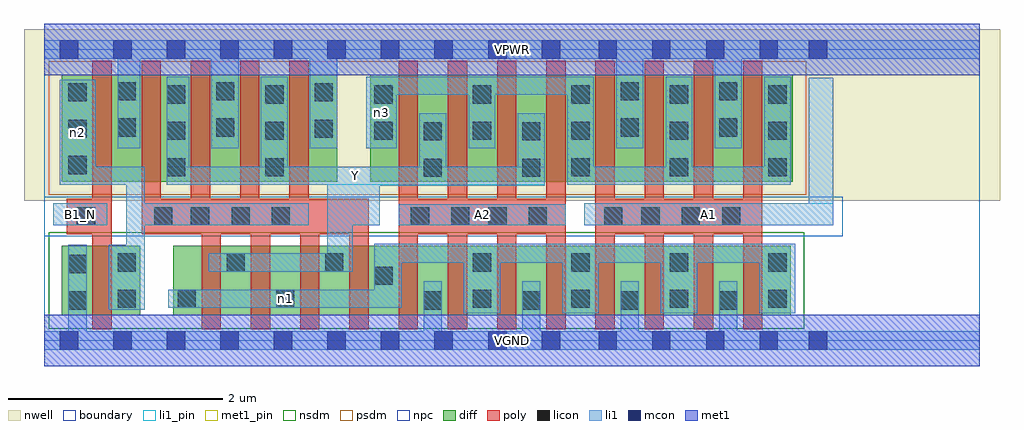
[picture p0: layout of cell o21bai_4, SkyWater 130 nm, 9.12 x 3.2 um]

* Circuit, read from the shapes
.subckt o21bai_4 A1 A2 B1_N VGND VPWR Y n1 n2 n3
XM1 n2 B1_N VGND VSUBS sky130_fd_pr__nfet_01v8 w=0.65 l=0.18
XM2 Y n2 n1 VSUBS sky130_fd_pr__nfet_01v8 w=0.65 l=0.18 m=4
XM3 VGND A2 n1 VSUBS sky130_fd_pr__nfet_01v8 w=0.65 l=0.18 m=4
XM4 VGND A1 n1 VSUBS sky130_fd_pr__nfet_01v8 w=0.65 l=0.18 m=4
XM5 VPWR B1_N n2 n4 sky130_fd_pr__pfet_01v8 w=1 l=0.18
XM6 Y n2 VPWR n4 sky130_fd_pr__pfet_01v8 w=1 l=0.18 m=4
XM7 Y A2 n3 n4 sky130_fd_pr__pfet_01v8 w=1 l=0.18 m=4
XM8 VPWR A1 n3 n4 sky130_fd_pr__pfet_01v8 w=1 l=0.18 m=4
.ends

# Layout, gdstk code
import gdstk
lib = gdstk.Library(unit=1e-6, precision=1e-09)
def R(c, l, rs):  # rectangles x0, y0, x1, y1
    for r in rs: c.add(gdstk.rectangle(r[:2], r[2:], *l))
def A(c, l, x, y, w, h, nx, ny, dx, dy):  # array of equal rectangles
    R(c, l, [(x+i*dx, y+j*dy, x+i*dx+w, y+j*dy+h) for i in range(nx) for j in range(ny)])
nwell = (64, 20)
diff = (65, 20)
poly = (66, 20)
licon = (66, 44)
li1_pin = (67, 16)
li1 = (67, 20)
mcon = (67, 44)
met1_pin = (68, 16)
met1 = (68, 20)
nsdm = (93, 44)
psdm = (94, 20)
npc = (95, 20)
boundary = (235, 4)

o21bai_4 = lib.new_cell('o21bai_4')
R(o21bai_4, nwell, [(-0.19,1.305,8.93,2.91), (0,1.305,8.74,2.91)])
R(o21bai_4, diff, [(0.165,0.235,0.895,0.885), (1.205,0.235,6.975,0.885), (0.165,1.485,2.735,2.485), (3.045,1.485,6.995,2.485)])
A(o21bai_4, poly, 1.47, 0.105, 0.18, 1.22, 4, 1, 0.46, 0)
A(o21bai_4, poly, 3.31, 0.105, 0.18, 2.51, 8, 1, 0.46, 0)
A(o21bai_4, poly, 0.91, 0.995, 0.18, 1.62, 4, 1, 0.46, 0)
R(o21bai_4, poly, [(0.45,0.105,0.63,2.615), (0.21,0.995,0.63,1.325), (0.91,0.995,3.03,1.325), (3.31,0.995,4.87,1.325), (5.15,0.995,6.71,1.325)])
A(o21bai_4, licon, 3.545, 0.29, 0.17, 0.17, 4, 1, 0.92, 0)
A(o21bai_4, licon, 4.005, 0.305, 0.17, 0.17, 4, 2, 0.92, 0.34)
A(o21bai_4, licon, 1.145, 1.535, 0.17, 0.17, 1, 3, 0, 0.34)
A(o21bai_4, licon, 2.065, 1.535, 0.17, 0.17, 1, 3, 0, 0.34)
A(o21bai_4, licon, 4.925, 1.535, 0.17, 0.17, 3, 1, 0.92, 0)
A(o21bai_4, licon, 0.225, 1.555, 0.17, 0.17, 1, 3, 0, 0.34)
A(o21bai_4, licon, 3.085, 1.875, 0.17, 0.17, 5, 2, 0.92, 0.34)
R(o21bai_4, licon, [(0.225,0.29,0.395,0.46), (0.685,0.305,0.855,0.475), (1.245,0.305,1.415,0.475), (2.165,0.305,2.335,0.475), (3.085,0.52,3.255,0.69), (0.225,0.63,0.395,0.8), (0.685,0.645,0.855,0.815), (1.705,0.645,1.875,0.815), (2.625,0.645,2.795,0.815), (0.305,1.075,0.475,1.245), (1.025,1.075,1.195,1.245), (1.37,1.075,1.54,1.245), (1.75,1.075,1.92,1.245), (2.125,1.075,2.295,1.245), (3.425,1.075,3.595,1.245), (3.8,1.075,3.97,1.245), (4.15,1.075,4.32,1.245), (4.525,1.075,4.695,1.245), (5.23,1.075,5.4,1.245), (5.58,1.075,5.75,1.245), (5.955,1.075,6.125,1.245), (6.335,1.075,6.505,1.245), (3.545,1.53,3.715,1.7), (4.465,1.53,4.635,1.7), (3.545,1.87,3.715,2.04), (4.465,1.87,4.635,2.04), (2.525,1.895,2.695,2.065), (0.685,1.905,0.855,2.075), (1.605,1.905,1.775,2.075), (5.385,1.905,5.555,2.075), (6.305,1.905,6.475,2.075), (2.525,2.235,2.695,2.405), (0.685,2.245,0.855,2.415), (1.605,2.245,1.775,2.415), (5.385,2.245,5.555,2.415), (6.305,2.245,6.475,2.415)])
R(o21bai_4, li1_pin, [(0.085,1.075,0.59,1.285), (3.31,1.075,4.87,1.275), (5.045,1.075,7.37,1.285), (1.145,1.455,4.675,1.625)])
A(o21bai_4, li1, 3.545, -0.085, 0.17, 0.64, 4, 1, 0.92, 0)
A(o21bai_4, li1, 3.92, 0.255, 0.34, 0.65, 3, 1, 0.92, 0)
A(o21bai_4, li1, 4.885, 1.455, 0.25, 1.01, 3, 1, 0.92, 0)
R(o21bai_4, li1, [(0,-0.085,8.74,0.085), (0.225,-0.085,0.395,0.895), (6.68,0.255,7.015,0.905), (0.6,0.29,0.94,0.895), (0.765,0.29,0.94,1.625), (1.16,0.305,3.34,0.475), (3.085,0.305,3.34,0.905), (1.535,0.645,2.88,0.815), (2.645,0.645,2.88,1.625), (3.085,0.725,7.015,0.905), (0.085,1.075,0.59,1.285), (0.765,1.075,2.47,1.285), (2.645,1.075,3.135,1.625), (3.31,1.075,4.87,1.275), (5.045,1.075,7.37,1.285), (7.145,1.075,7.37,2.455), (2.645,1.445,4.675,1.625), (3.505,1.445,3.755,2.125), (4.425,1.445,4.675,2.125), (0.145,1.455,0.48,2.435), (0.145,1.455,0.94,1.625), (1.145,1.455,4.675,1.625), (1.145,1.455,1.355,2.465), (2.02,1.455,2.275,2.465), (4.885,1.455,6.975,1.625), (0.685,1.795,0.895,2.805), (1.56,1.795,1.815,2.805), (2.48,1.795,2.735,2.805), (3.01,1.795,3.295,2.465), (3.965,1.795,4.215,2.465), (5.345,1.795,5.595,2.805), (6.265,1.795,6.515,2.805), (3.01,2.295,5.135,2.465), (0,2.635,8.74,2.805)])
A(o21bai_4, mcon, 0.145, -0.085, 0.17, 0.17, 8, 2, 0.5, 2.72)
R(o21bai_4, mcon, [(4.15,-0.085,4.32,0.085), (4.65,-0.085,4.82,0.085), (5.18,-0.085,5.35,0.085), (5.68,-0.085,5.85,0.085), (6.185,-0.085,6.355,0.085), (6.685,-0.085,6.855,0.085), (7.145,-0.085,7.315,0.085), (4.15,2.635,4.32,2.805), (4.65,2.635,4.82,2.805), (5.18,2.635,5.35,2.805), (5.68,2.635,5.85,2.805), (6.185,2.635,6.355,2.805), (6.685,2.635,6.855,2.805), (7.145,2.635,7.315,2.805)])
R(o21bai_4, met1_pin, [(0,-0.24,8.74,0.24), (0,2.48,8.74,2.96)])
R(o21bai_4, met1, [(0,-0.24,8.74,0.24), (0,2.48,8.74,2.96)])
R(o21bai_4, nsdm, [(0.04,0.11,7.1,1.01)])
R(o21bai_4, psdm, [(0.04,1.36,7.12,2.61)])
R(o21bai_4, npc, [(0,0.975,7.46,1.345)])
R(o21bai_4, boundary, [(0,0,8.74,2.72)])
o21bai_4.add(gdstk.Label('A1', (6.207,1.18), layer=67, texttype=5))
o21bai_4.add(gdstk.Label('A2', (4.09,1.175), layer=67, texttype=5))
o21bai_4.add(gdstk.Label('B1_N', (0.337,1.18), layer=67, texttype=5))
o21bai_4.add(gdstk.Label('Y', (2.91,1.54), layer=67, texttype=5))
o21bai_4.add(gdstk.Label('n1', (2.25,0.39), layer=67, texttype=5))
o21bai_4.add(gdstk.Label('n2', (0.312,1.945), layer=67, texttype=5))
o21bai_4.add(gdstk.Label('n3', (3.152,2.13), layer=67, texttype=5))
o21bai_4.add(gdstk.Label('VPWR', (4.37,2.72), layer=68, texttype=5))
o21bai_4.add(gdstk.Label('VGND', (4.37,0), layer=68, texttype=5))
o21bai_4.add(gdstk.Label('A1', (6.207,1.18), layer=67, texttype=16))
o21bai_4.add(gdstk.Label('A2', (4.09,1.175), layer=67, texttype=16))
o21bai_4.add(gdstk.Label('B1_N', (0.337,1.18), layer=67, texttype=16))
o21bai_4.add(gdstk.Label('Y', (2.91,1.54), layer=67, texttype=16))
o21bai_4.add(gdstk.Label('VPWR', (4.37,2.72), layer=68, texttype=16))
o21bai_4.add(gdstk.Label('VGND', (4.37,0), layer=68, texttype=16))

lib.write_gds('o21bai_4.gds')
